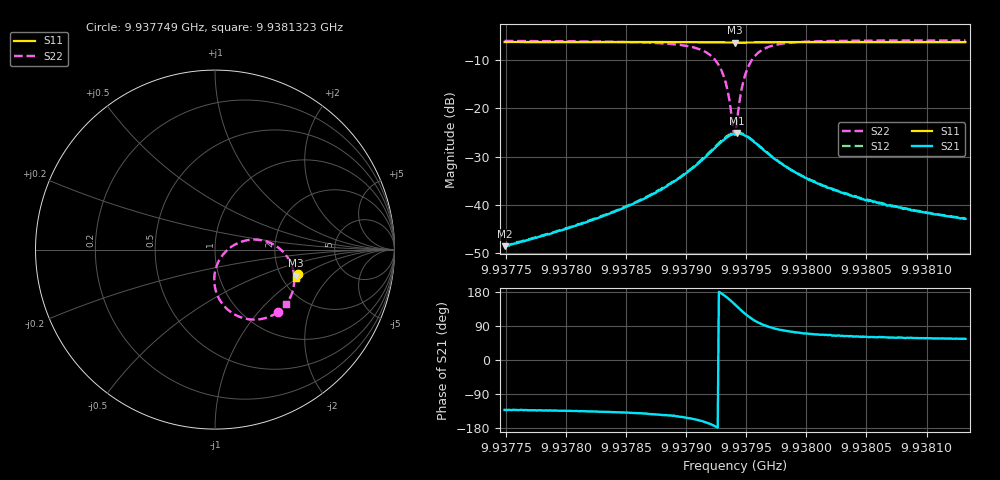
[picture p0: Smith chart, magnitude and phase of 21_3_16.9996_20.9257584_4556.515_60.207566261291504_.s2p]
#  HZ  S  RI  R  50.00
! Rohde & Schwarz Vector Network Analyzer
! Rohde-Schwarz,ZNB20-2Port,1311601062101988,3.16
! Created: UTC 3/20/2024, 10:53:00 PM
! freq[Hz]  re:S11  im:S11  re:S21  im:S21  re:S12  im:S12  re:S22  im:S22
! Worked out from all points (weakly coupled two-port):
!   401 points, 9.937749 GHz to 9.9381323 GHz, reference 50 ohm
!   highest |S21| = -25.21 dB at 9.9379425 GHz (marker M1); lowest = -48.5 dB at 9.937749 GHz (marker M2)
!   lowest |S11| = -6.5 dB at 9.9379406 GHz (marker M3), VSWR 2.80, Z = 120 - j45 ohm
!   |S11| at or under -10 dB: nowhere
!   |S22| runs from -25.5 to -6.0 dB; largest |S21 - S12| = 0.0025
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9.93774895e9  0.4621 -0.1351  -0.0025 -0.0028  -0.00256 -0.00281  0.3507 -0.3471
9.93781316e9  0.4602 -0.1396  -0.00452 -0.0045  -0.00465 -0.00453  0.3289 -0.3613
9.93785245e9  0.459 -0.1425  -0.00741 -0.00644  -0.00767 -0.00646  0.301 -0.3747
9.93787737e9  0.458 -0.1445  -0.0116 -0.00835  -0.0117 -0.00822  0.2666 -0.3854
9.93790803e9  0.4559 -0.1468  -0.0235 -0.00997  -0.0242 -0.00975  0.1641 -0.3834
9.93792336e9  0.4536 -0.1476  -0.0381 -0.0042  -0.0393 -0.0035  0.0537 -0.3173
9.93792816e9  0.4526 -0.1472  -0.0433 0.00145  -0.0447 0.00253  0.0169 -0.2624
9.93793199e9  0.4521 -0.1469  -0.047 0.00858  -0.0483 0.0099  -0.00191 -0.1997
9.93793486e9  0.4515 -0.1463  -0.0484 0.0154  -0.0495 0.017  -0.00307 -0.1431
9.9379387e9  0.4514 -0.1453  -0.0474 0.0253  -0.0479 0.0275  0.0216 -0.0625
9.93793966e9  0.4514 -0.145  -0.0466 0.0278  -0.0468 0.0302  0.0327 -0.0439
9.93794061e9  0.4514 -0.1448  -0.0453 0.0302  -0.0456 0.0327  0.0463 -0.0256
9.93794253e9  0.4518 -0.1443  -0.0423 0.035  -0.0422 0.0374  0.0779 0.00596
9.93794541e9  0.4522 -0.1436  -0.0362 0.0404  -0.0357 0.0425  0.1352 0.0397
9.93794828e9  0.453 -0.1432  -0.0295 0.0436  -0.0284 0.0455  0.1964 0.0549
9.93795211e9  0.4537 -0.1432  -0.0202 0.045  -0.019 0.0463  0.2708 0.0499
9.93795786e9  0.455 -0.1436  -0.00929 0.0425  -0.00812 0.0432  0.3529 0.0111
9.9379732e9  0.4564 -0.1458  0.00355 0.03  0.00439 0.0302  0.4337 -0.1065
9.93800482e9  0.4564 -0.1493  0.00646 0.0166  0.00692 0.0164  0.4359 -0.2195
9.9380374e9  0.4554 -0.1522  0.00566 0.0112  0.00604 0.0109  0.4211 -0.2621
9.93806903e9  0.4547 -0.1545  0.00516 0.00847  0.00523 0.00852  0.4101 -0.2827
9.93813227e9  0.453 -0.1588  0.00403 0.00596  0.00419 0.00595  0.3954 -0.3045
